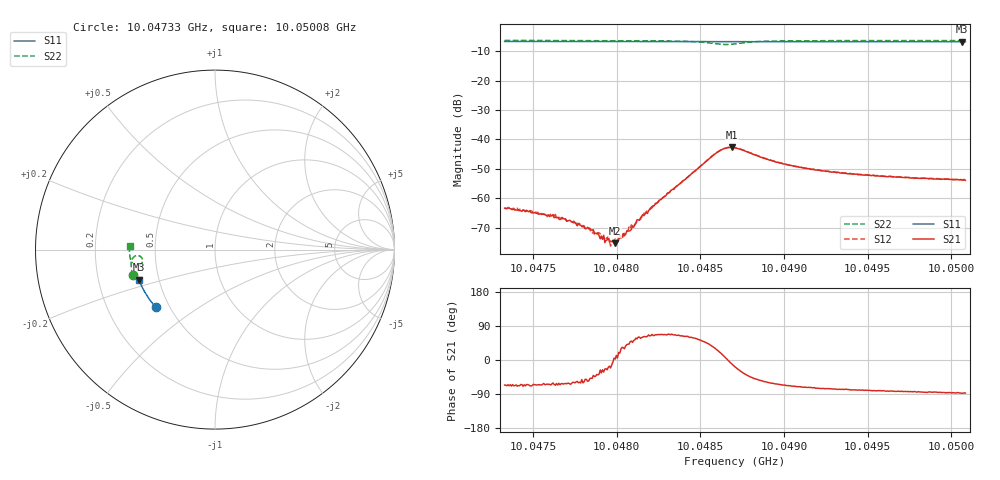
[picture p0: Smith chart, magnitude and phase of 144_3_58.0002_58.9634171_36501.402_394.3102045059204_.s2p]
#  HZ  S  RI  R  50.00
! Rohde & Schwarz Vector Network Analyzer
! Rohde-Schwarz,ZNB20-2Port,1311601062101988,3.16
! Created: UTC 3/21/2024, 12:56:45 AM
! freq[Hz]  re:S11  im:S11  re:S21  im:S21  re:S12  im:S12  re:S22  im:S22
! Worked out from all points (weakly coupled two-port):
!   401 points, 10.04733 GHz to 10.05008 GHz, reference 50 ohm
!   highest |S21| = -42.68 dB at 10.04869 GHz (marker M1); lowest = -75.2 dB at 10.04799 GHz (marker M2)
!   lowest |S11| = -6.8 dB at 10.05006 GHz (marker M3), VSWR 2.67, Z = 19.3 - j8.2 ohm
!   |S11| at or under -10 dB: nowhere
!   |S22| runs from -7.8 to -6.4 dB; largest |S21 - S12| = 0.00053
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1.0047329e10  -0.3294 -0.3215  0.000277 -0.000625  0.000329 -0.000611  -0.4569 -0.143
1.0047619e10  -0.342 -0.3071  0.000262 -0.000464  0.00025 -0.00045  -0.462 -0.1229
1.0047791e10  -0.3493 -0.2982  0.000207 -0.000263  0.000204 -0.000265  -0.4641 -0.1102
1.0047846e10  -0.3517 -0.2954  0.000195 -0.000217  0.000188 -0.000185  -0.4649 -0.106
1.0047915e10  -0.3544 -0.2917  0.000184 -8.89e-05  0.000166 -0.000117  -0.4659 -0.1005
1.0047942e10  -0.3555 -0.2901  0.000177 -8.66e-05  0.000201 -7.91e-05  -0.4661 -0.0984
1.004797e10  -0.3566 -0.2887  0.00018 -4.06e-05  0.000177 -2.01e-05  -0.4663 -0.0962
1.0047991e10  -0.3575 -0.2877  0.000174 7.42e-06  0.000199 5.01e-05  -0.4664 -0.0945
1.0048046e10  -0.3597 -0.2847  0.000203 0.000115  0.000208 0.000139  -0.4668 -0.0897
1.0048087e10  -0.3612 -0.2826  0.000191 0.000227  0.000192 0.0003  -0.467 -0.086
1.0048135e10  -0.3632 -0.2801  0.000211 0.000369  0.000197 0.000391  -0.4671 -0.0818
1.0048177e10  -0.3647 -0.2777  0.00028 0.000503  0.000246 0.000542  -0.4671 -0.0778
1.0048252e10  -0.3676 -0.2737  0.000355 0.000858  0.0003 0.00084  -0.4663 -0.0698
1.0048583e10  -0.3793 -0.2551  0.00469 0.00298  0.00453 0.0033  -0.4237 -0.0342
1.0048638e10  -0.3811 -0.2522  0.00681 0.0014  0.00676 0.00173  -0.406 -0.0495
1.0048686e10  -0.3827 -0.2498  0.00724 -0.00123  0.00734 -0.000788  -0.406 -0.0723
1.0048707e10  -0.3833 -0.2487  0.00687 -0.00225  0.00702 -0.0018  -0.4111 -0.08
1.0048962e10  -0.3924 -0.2344  0.00183 -0.00368  0.00202 -0.00358  -0.4639 -0.07
1.0049169e10  -0.399 -0.2224  0.000897 -0.00296  0.00106 -0.00296  -0.4724 -0.0484
1.004963e10  -0.4123 -0.1949  0.000305 -0.00235  0.00046 -0.00234  -0.4766 -0.0107
1.0050064e10  -0.423 -0.1684  8.09e-05 -0.00205  0.000245 -0.00205  -0.4762 0.0204
1.0050085e10  -0.4235 -0.1671  9.63e-05 -0.00202  0.000207 -0.00205  -0.4763 0.0217
